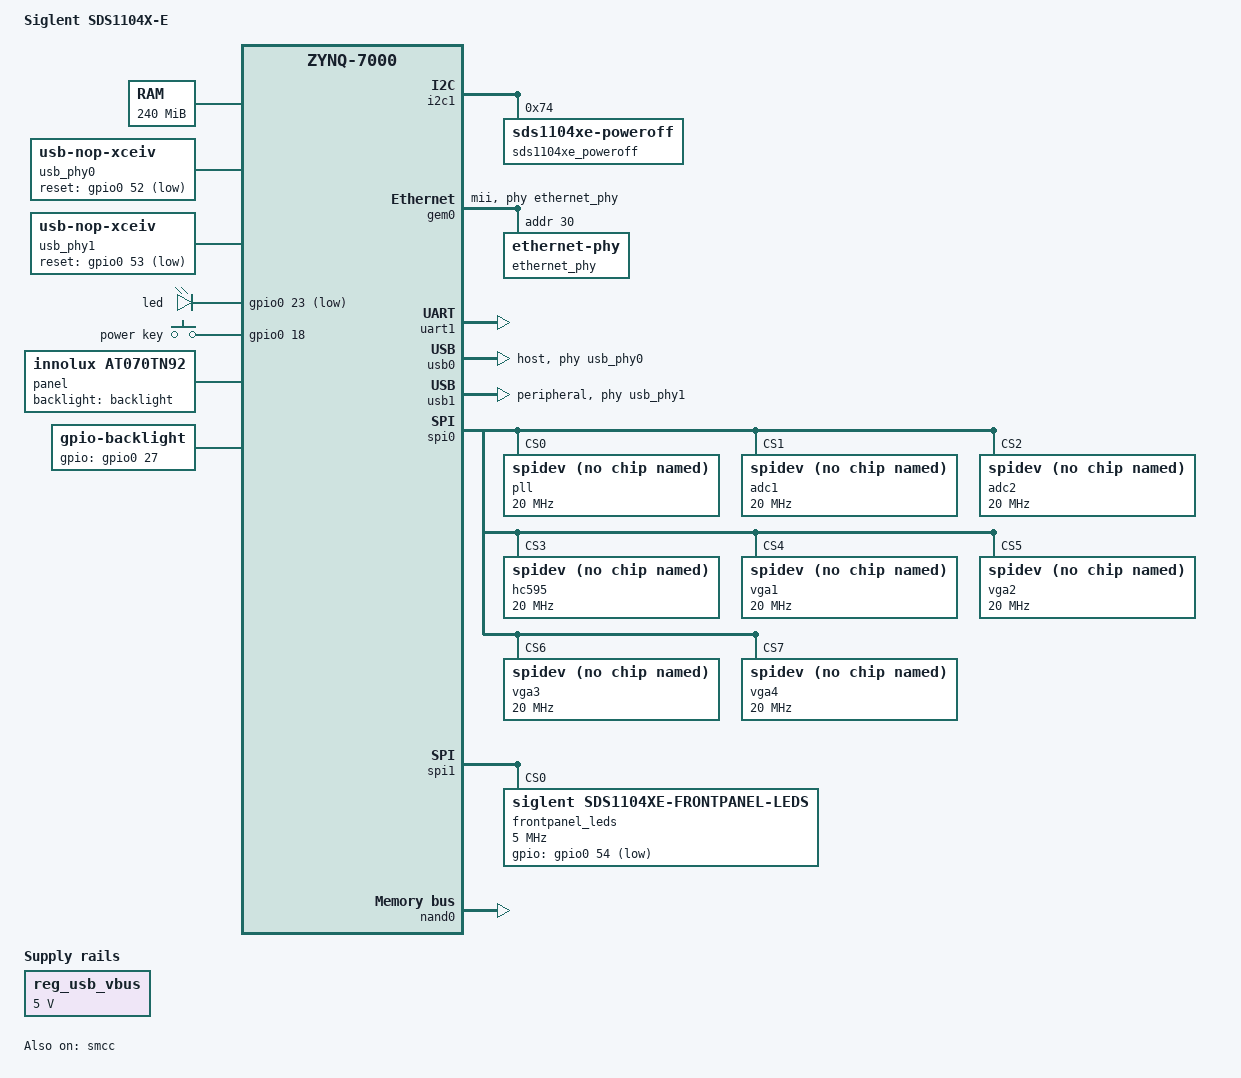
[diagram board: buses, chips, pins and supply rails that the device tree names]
/dts-v1/;
/include/ "zynq-7000.dtsi"

/ {
    model = "Siglent SDS1104X-E";
    compatible = "xlnx,zynq-sds1104xe", "xlnx,zynq-7000";

    aliases {
        ethernet0 = &gem0;
        serial0 = &uart1;
    };

    memory {
        device_type = "memory";
        reg = <0x0 0x0f000000>; // reserve top 16 mbyte
    };

    chosen {
        bootargs = "console=ttyPS0,115200 earlycon root=/dev/nfs rw nfsroot=192.168.0.1:/nfsroot,v3,tcp ip=dhcp";
        stdout-path = "serial0:115200n8";
    };

    usb_phy0: phy0 {
        compatible = "usb-nop-xceiv";
        #phy-cells = <0>;
        reset-gpios = <&gpio0 52 1>;
        vbus-regulator = <&reg_usb_vbus>;
        //FIXME: overcurrent detection?
    };

    reg_usb_vbus: usb-vbus {
        compatible = "regulator-fixed";
        regulator-name = "usb-vbus";
        regulator-min-microvolt = <5000000>;
        regulator-max-microvolt = <5000000>;
        //gpio = <&gpio0 54 0>;
    };

    usb_phy1: phy1 {
        compatible = "usb-nop-xceiv";
        #phy-cells = <0>;
        reset-gpios = <&gpio0 53 1>;
    };

    leds {
        compatible = "gpio-leds";
        led {
            label = "led";
            gpios = <&gpio0 23 1>;
            linux,default-trigger = "heartbeat";
        };
    };

    gpio-keys {
        compatible = "gpio-keys";

        power {
            label = "power key";
            gpios = <&gpio0 18 0>; /* MIO18 */
            linux,code = <116>; /* KEY_POWER */
            debounce-interval = <0>;
        };
    };

    amba_pl {
        #address-cells = <0x1>;
        #size-cells = <0x1>;
        compatible = "simple-bus";
        ranges;

        display_vdma: axivdma@80000000 {
            #dma-cells = <1>;

            compatible = "xlnx,axi-vdma-1.00.a";

            interrupt-parent = <&intc>;
            interrupts = <0 29 4>;

            reg = <0x80000000 0x10000>;
            dma-ranges = <0x00000000 0x00000000 0x40000000>;

            xlnx,addrwidth = <32>;
            xlnx,flush-fsync = <0x1>;
            xlnx,num-fstores = <0x1>;

            clocks = <&clkc 16>, <&clkc 17>, <&clkc 16>;
            clock-names = "s_axi_lite_aclk", "m_axi_mm2s_aclk", "m_axis_mm2s_aclk";

            dma-channel@80000000 {
                compatible = "xlnx,axi-vdma-mm2s-channel";
                interrupts = <0 29 4>;
                xlnx,datawidth = <64>;
            };
        };

        display_pixel_clk: pixel-clock@0 {
            compatible = "fixed-clock";
            #clock-cells = <0>;
            clock-frequency = <33333000>;
        };

        xilinx_drm {
            compatible = "xlnx,drm";

            #address-cells = <1>;
            #size-cells = <0>;

            /*xlnx,vtc = <&v_tc_0>;*/
            xlnx,encoder-slave = <&parallel_display>;
            xlnx,connector-type = "HDMIA";
            clocks = <&display_pixel_clk>;

            planes {
                xlnx,pixel-format = "rgb888";
                plane0 {
                    dmas = <&display_vdma 0>;
                    dma-names = "display_vdma";
                };
            };
        };

        parallel_display: parallel-display {
            compatible = "xlnx,parallel-display";
            panel = <&panel>;
        };

        panel: simple-panel {
            compatible = "innolux,at070tn92";
            backlight = <&backlight>;
        };

        backlight: backlight {
            compatible = "gpio-backlight";
            /* MIO 27 */
            gpios = <&gpio0 27 0>;
            default-on;
        };
    };
};

&amba {
    ocm: sram@fffc0000 {
        compatible = "mmio-sram";
        reg = <0xfffc0000 0x10000>;
    };
};

&clkc {
    ps-clk-frequency = <33333333>;
};

&i2c1 {
    status = "okay";

    sds1104xe_poweroff: poweroff@74 {
        compatible = "sds1104xe-poweroff";
        reg = <0x74>;
    };
};

&gem0 {
    status = "okay";
    phy-mode = "mii";
    phy-handle = <&ethernet_phy>;

    ethernet_phy: ethernet-phy@0x1e {
        reg = <0x1e>;
    };
};

&uart1 {
    status = "okay";
};

&usb0 {
    status = "okay";
    dr_mode = "host";
    usb-phy = <&usb_phy0>;
    //pinctrl-names = "default";
    //pinctrl-0 = <&pinctrl_usb0_default>;
};

&usb1 {
    status = "okay";
    dr_mode = "peripheral";
    usb-phy = <&usb_phy1>;
    //pinctrl-names = "default";
    //pinctrl-0 = <&pinctrl_usb1_default>;
};

&spi0 {
    status = "okay";
    num-cs = <8>;
    is-decoded-cs = <1>;

    pll@0 {
        compatible = "linux,spidev";
        reg = <0x0>;
        spi-max-frequency = <20000000>;
    };

    adc1@1 {
        compatible = "linux,spidev";
        reg = <0x1>;
        spi-max-frequency = <20000000>;
    };

    adc2@2 {
        compatible = "linux,spidev";
        reg = <0x2>;
        spi-max-frequency = <20000000>;
    };

    hc595@3 {
        compatible = "linux,spidev";
        reg = <0x3>;
        spi-max-frequency = <20000000>;
    };

    vga1@4 {
        compatible = "linux,spidev";
        reg = <0x4>;
        spi-max-frequency = <20000000>;
    };

    vga2@5 {
        compatible = "linux,spidev";
        reg = <0x5>;
        spi-max-frequency = <20000000>;
    };

    vga3@6 {
        compatible = "linux,spidev";
        reg = <0x6>;
        spi-max-frequency = <20000000>;
    };

    vga4@7 {
        compatible = "linux,spidev";
        reg = <0x7>;
        spi-max-frequency = <20000000>;
    };
};

&spi1 {
    status = "okay";

    frontpanel_leds@0 {
        compatible = "siglent,sds1104xe-frontpanel-leds";
        reg = <0x0>;
        spi-max-frequency = <5000000>;
        gpios = <&gpio0 54 1>;  /* shift register output enable - EMIO GPIO 0 */
    };
};

//FIXME: SDHCI0 is enabled in original device tree for whatever reason
//&sdhci0 {
//    status = "okay";
//};

&smcc {
    status = "okay";
};

&nand0 {
    status = "okay";

    arm,nand-cycle-t0 = <0x5>;
    arm,nand-cycle-t1 = <0x5>;
    arm,nand-cycle-t2 = <0x2>;
    arm,nand-cycle-t3 = <0x3>;
    arm,nand-cycle-t4 = <0x1>;
    arm,nand-cycle-t5 = <0x2>;
    arm,nand-cycle-t6 = <0x2>;

    partition@nand-fsbl {
        label = "fsbl";
        reg = <0x0 0x780000>;
    };
    partition@nand-linux {
        label = "kerneldata";
        reg = <0x780000 0x400000>;
    };
    partition@nand-device-tree {
        label = "device-tree";
        reg = <0xb80000 0x80000>;
    };
    partition@nand-manufacturedata {
        label = "Manufacturedata";
        reg = <0xc00000 0x500000>;
    };
    partition@nand-reserved1 {
        label = "reserved1";
        reg = <0x1100000 0x500000>;
    };
    partition@nand-rootfs {
        label = "rootfs";
        reg = <0x1600000 0x2800000>;
    };
    partition@nand-firmdata0 {
        label = "firmdata0";
        reg = <0x3e00000 0xa00000>;
    };
    partition@nand-siglent {
        label = "siglent";
        reg = <0x4800000 0x2800000>;
    };
    partition@nand-datafs {
        label = "datafs";
        reg = <0x7000000 0x6400000>;
    };
    partition@nand-upgrade_cramdisk {
        label = "upgrade_cramdisk";
        reg = <0xd400000 0x2800000>;
    };
    partition@nand-reserved2 {
        label = "reserved2";
        reg = <0xfc00000 0x400000>;
    };
};

//FIXME: configure pinctrl correctly
//&pinctrl0 {
//    pinctrl_usb0_default: usb0-default {
//        mux {
//            groups = "usb0_0_grp";
//            function = "usb0";
//        };
//
//        conf {
//            groups = "usb0_0_grp";
//            slew-rate = <0>;
//            io-standard = <1>;
//        };
//
//        conf-rx {
//            pins = "MIO29", "MIO31", "MIO36";
//            bias-high-impedance;
//        };
//
//        conf-tx {
//            pins = "MIO28", "MIO30", "MIO32", "MIO33", "MIO34",
//                   "MIO35", "MIO37", "MIO38", "MIO39";
//            bias-disable;
//        };
//    };
//};
